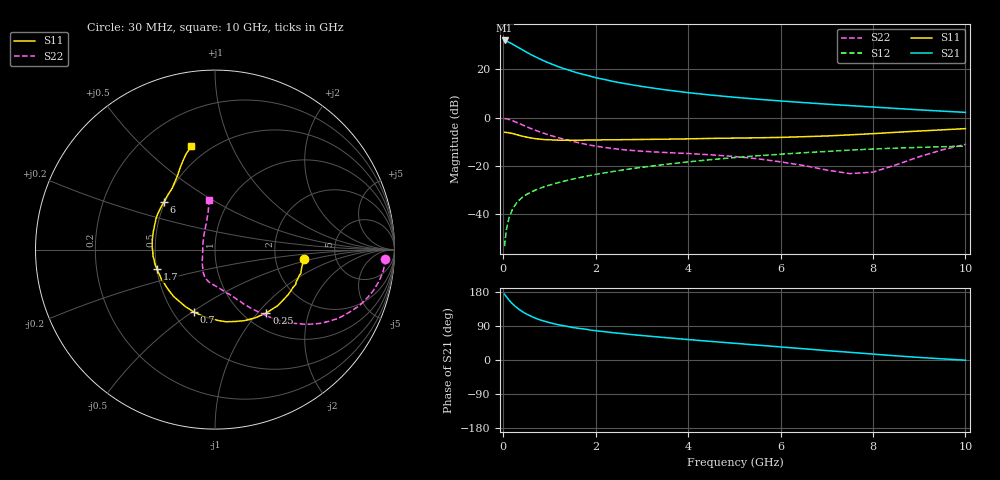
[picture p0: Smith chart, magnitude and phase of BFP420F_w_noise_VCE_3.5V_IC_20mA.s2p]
! Infineon Technologies  Discrete & RF Semiconductors
! BFP420F
! VCE =  3.5 V,  IC =  20 mA
! Common Emitter S-Parameters:  Sep 2011
# GHz  S  MA  R  50
!  f  S11  S21  S12  S22
! GHz  MAG  ANG  MAG  ANG  MAG  ANG  MAG  ANG
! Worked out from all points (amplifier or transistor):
!   54 points, 30 MHz to 10 GHz, reference 50 ohm
!   highest |S21| = 31.9 dB at 30 MHz (marker M1)
!   |S21| within 3 dB of that: start of sweep to 337 MHz
!   unconditionally stable (mu >= 1): 1.69 GHz to end of sweep
!   at 120 MHz: K = 0.31, MSG = 36.6 dB, |S12| = -41.9 dB
!   at 1.3 GHz: K = 0.90, MSG = 23.3 dB, |S12| = -26.4 dB
!   at 10 GHz: K = 1.24, MAG = 4.0 dB, |S12| = -11.8 dB
!   lowest NFmin = 1.53 dB at 450 MHz
!   S11 on the Smith chart (normalised r, x): 30 MHz: 2.92, -0.40; 250 MHz: 1.25, -1.11; 700 MHz: 0.63, -0.51; 1.7 GHz: 0.50, -0.12; 6 GHz: 0.49, +0.31; 10 GHz: 0.40, +0.72
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0.03  0.497 -5.9  39.27 173.5  0.0022 76.7  0.9496 -3.1
0.07  0.4961 -15.6  38.22 166.9  0.0049 81.0  0.9422 -7.9
0.12  0.4825 -26.2  36.38 158.8  0.008 77.7  0.9168 -13.4
0.15  0.4788 -31.7  35.02 154.7  0.0097 76.2  0.8979 -16.5
0.2  0.4689 -41.6  32.99 148.5  0.0127 73.9  0.8636 -21.2
0.25  0.4543 -50.9  30.93 142.7  0.0152 72.2  0.825 -25.1
0.3  0.4413 -59.6  29.18 137.6  0.0178 69.8  0.7891 -28.9
0.35  0.4285 -67.5  27.34 133.0  0.0199 68.3  0.7511 -32.1
0.45  0.4066 -81.3  24.11 125.0  0.0238 65.8  0.6834 -37.4
0.6  0.3787 -99.1  20.03 115.5  0.0288 63.4  0.5929 -43.7
0.7  0.3668 -108.8  17.97 110.3  0.0319 62.6  0.5458 -47.0
0.9  0.3503 -124.6  14.58 102.1  0.0375 61.7  0.4662 -52.1
1.1  0.3438 -137.1  12.23 95.6  0.0429 61.3  0.4061 -56.5
1.5  0.3396 -155.1  9.043 85.8  0.0535 61.1  0.323 -63.8
1.7  0.3407 -161.5  7.944 82.5  0.0588 61.0  0.2918 -67.5
2.4  0.3464 -178.1  5.532 71.7  0.0776 59.4  0.2279 -80.2
3.5  0.3577 164.1  3.754 59.2  0.1076 55.5  0.19 -96.4
5.5  0.3822 142.3  2.401 39.3  0.1622 44.6  0.1412 -117.9
6  0.3897 136.6  2.208 34.5  0.1752 41.5  0.1216 -124.1
7  0.4171 124.8  1.896 24.8  0.1999 35.2  0.0825 -147.9
8.5  0.4966 113.0  1.545 11.0  0.2338 24.7  0.1055 125.3
10  0.5915 102.8  1.282 -0.5  0.2575 15.5  0.2796 96.6
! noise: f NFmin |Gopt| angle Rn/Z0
0.45  1.53  0.18  -179  0.15
0.9  1.54  0.18  -179  0.17
1.9  1.66  0.26  -170  0.15
2.4  1.72  0.27  -165  0.11
3.5  1.96  0.29  -155  0.15
